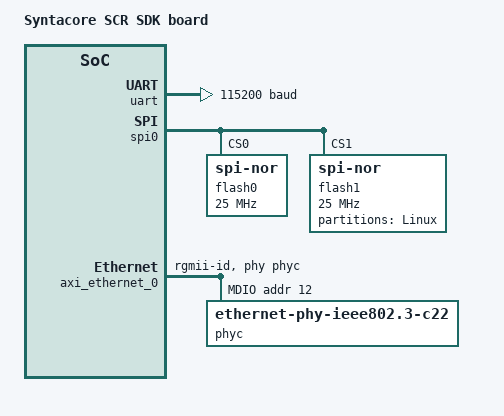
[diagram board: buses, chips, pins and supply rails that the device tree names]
/*
 * Copyright (C) 2016, Syntacore Ltd.
 * All Rights Reserved.
 */

#include "platform_config.h"

/ {
    model = "Syntacore SCR SDK board";
    compatible = "syntacore,scr_sdk";
    #address-cells = <2>;
    #size-cells = <2>;

    aliases {
        ethernet = &axi_ethernet_0;
    };

    clk_bus_0: clkc {
        #clock-cells = <0>;
        clock-frequency = <dev0_freq:0>;
        clock-output-names = "clk_bus_0";
        compatible = "fixed-clock";
    };

    memory@0 {
        #address-cells = <2>;
        #size-cells = <2>;
        device_type = "memory";
        reg = <dtb_mem_base:0x0 0x0 dtb_mem_size:0x0 0x20000000>;
    };

#if !PLF_DMA_COHERENT
    reserved-memory {
        #address-cells = <2>;
        #size-cells = <2>;
        ranges;

        // global region for dma allocations
        linux,dma@ff000000 {
            compatible = "shared-dma-pool";
            reg = <dtb_dma_mem_base:0 0 dtb_dma_mem_size:0 0>;
            linux,dma-default;
            no-map;
        };
    };
#endif

#if PLF_MMODE_ONLY == 1
    mtimer: timer@fffffff0040000 {
        compatible = "scr,mtimer0";
        reg = <0xffffff 0xf0040000 0x0 0x1000>;
        interrupts-extended = <&CPU0_intc 7>;
        clock-frequency = <mtimer_freq:0>;
#if PLF_RTC_SRC_EXTERNAL == 1
        clock-external;
#endif
    };

    iccm {
        compatible = "scr,iccm-csr";
    };
#endif

    scr_sdk_soc: soc {
        device_type = "soc";
        ranges;
        #address-cells = <2>;
        #size-cells = <2>;
        compatible = "simple-bus";
        bus-frequency = <dev1_freq:0>;
#if PLF_DMA_COHERENT
        dma-coherent;
#else
        dma-noncoherent;
#endif

        pb_cpu_to_io: bridge@ffffffff000000 {
            compatible = "simple-bus";
            reg = <0xffffff 0xff000000 0x0 0x00800000>;
            #address-cells = <2>;
            #size-cells = <2>;
            ranges = <0x0 0x0 0xffffff 0xff000000 0x0 0x00800000>;

            uart: serial@10000 {
                compatible = "ns16550a";
                reg = <0x0 0x10000 0x0 0x00000100>;
                reg-io-width = <4>;
                reg-shift = <2>;
                interrupt-parent = <&plic>;
                interrupts = <1 4>;
                current-speed = <115200>;
                clock-frequency = <dev2_freq:0>;
            };

            spi0: spi@30000 {
                compatible = "xlnx,xps-spi-2.00.a";
                reg = <0x0 0x30000 0x0 0x10000>;
                #address-cells = <1>;
                #size-cells = <0>;
                xlnx,num-ss-bits = <0x1>;
                xlnx,num-transfer-bits = <8>;
                fifo-size = <16>;  // U-Boot has no fifo autodetect

                flash0: flash@0 {
                    compatible = "jedec,spi-nor";
                    spi-max-frequency = <25000000>;
                    reg = <0>;
                };

                flash1: flash@1 {
                    compatible = "jedec,spi-nor";
                    spi-max-frequency = <25000000>;
                    reg = <1>;

                    partitions {
                        compatible = "fixed-partitions";
                        #address-cells = <1>;
                        #size-cells = <1>;

                        partition@4000000 {
                            label = "Linux";
                            reg = <0x0 0x4000000>;  // 64MB partition for Linux
                        };
                    };
                };
            };

            axi_ethernet_0: ethernet@40000 {
                axistream-connected = <&axi_ethernet_0_dma>;
                axistream-control-connected = <&axi_ethernet_0_dma>;

                compatible = "xlnx,axi-ethernet-1.00.a";
                device_type = "network";
                local-mac-address = [00 0a 35 04 D0 99];

                reg = <0 0x40000 0 0x40000>;

                phy-handle = <&phyc>;
                phy-mode = "rgmii-id";

                xlnx,rxmem = <0x1000>;
                xlnx,rxcsum = <0x2>;
                xlnx,txcsum = <0x2>;

                mdio {
                    #address-cells = <1>;
                    #size-cells = <0>;

                    phyc: phy@c {
                        compatible = "ethernet-phy-ieee802.3-c22";
                        reg = <0xc>;
                        ti,rx-internal-delay = <0x7>;
                        ti,tx-internal-delay = <0x7>;
                        ti,fifo-depth = <0x3>;
                    };
                };
            };

            axi_ethernet_0_dma: dma@80000 {
                #dma-cells = <1>;
                axistream-connected = <&axi_ethernet_0>;
                axistream-control-connected = <&axi_ethernet_0>;
                clock-frequency = <dev3_freq:0>;
                clock-names = "s_axi_lite_aclk";
                clocks = <&clk_bus_0>;
                compatible = "xlnx,eth-dma";
                interrupt-parent = <&plic>;
                interrupts = <3 4>,<2 4>;
                reg = <0 0x80000 0 0x10000>;
                xlnx,include-dre ;
            };
        };
    };
};
